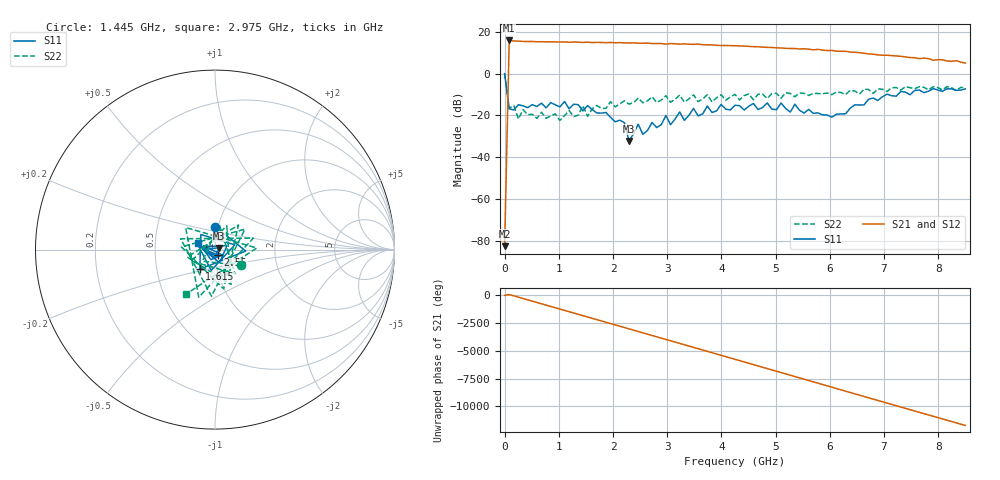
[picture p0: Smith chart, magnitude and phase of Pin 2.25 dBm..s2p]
! RsaToolbox (C) 2013 Rohde & Schwarz America
! Number of points: 101
! Number of ports: 2
! Balanced ports?: 0
# Hz S RI R 50
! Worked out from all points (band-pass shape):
!   101 points, 9 kHz to 8.5 GHz, reference 50 ohm
!   highest |S21| = 15.83 dB at 85.01 MHz (marker M1); lowest = -82.4 dB at 9 kHz (marker M2)
!   |S21| within 3 dB of the highest: 82.41 MHz to 4.639 GHz (4.557 GHz wide, 193 % of centre)
!   lowest |S11| = -32.2 dB at 2.295 GHz (marker M3), VSWR 1.05, Z = 52.3 + j1.02 ohm
!   |S11| at or under -10 dB: 50.41 MHz to 7.042 GHz (6.991 GHz wide, 197 % of centre); 7.077 GHz to 7.254 GHz (177 MHz wide, 2.47 % of centre); 7.471649 GHz to 7.48502 GHz (13.37 MHz wide, 0.179 % of centre)
!   |S22| runs from -22.4 to 0.1 dB; largest |S21 - S12| = 0
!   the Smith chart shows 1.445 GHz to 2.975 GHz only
!   S11 on the Smith chart (normalised r, x): 1.445 GHz: 0.97, +0.25; 1.615 GHz: 0.83, -0.18; 2.55 GHz: 1.03, -0.06; 2.975 GHz: 0.83, +0.06
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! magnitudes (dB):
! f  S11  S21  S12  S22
! 9 kHz  0.0  -82.4  -82.4  0.1
! 85.01 MHz  -16.8  15.8  15.8  -16.6
! 255 MHz  -14.9  15.5  15.5  -21.7
! 340 MHz  -15.4  15.4  15.4  -17.2
! 1.02 GHz  -15.9  15.1  15.1  -22.4
! 1.445 GHz  -17.8  14.9  14.9  -15.3
! 1.53 GHz  -15.3  15.0  15.0  -20.4
! 1.615 GHz  -17.2  14.8  14.8  -16.8
! 2.21 GHz  -23.4  14.7  14.7  -13.0
! 2.295 GHz  -32.2  14.6  14.6  -14.5
! 2.465 GHz  -24.2  14.5  14.5  -11.7
! 2.55 GHz  -29.0  14.5  14.5  -13.9
! 2.89 GHz  -24.4  14.4  14.4  -12.7
! 2.975 GHz  -20.0  14.1  14.1  -10.5
! 3.06 GHz  -24.4  14.3  14.3  -13.7
! 3.23 GHz  -18.3  14.1  14.1  -10.2
! 3.315 GHz  -22.3  14.2  14.2  -13.6
! 3.485 GHz  -16.6  14.0  14.0  -10.2
! 4.25 GHz  -15.1  13.3  13.3  -9.9
! 5.695 GHz  -19.0  11.4  11.4  -9.5
! 7.14 GHz  -10.6  8.6  8.6  -6.8
! 8.5 GHz  -7.3  5.0  5.0  -6.7
